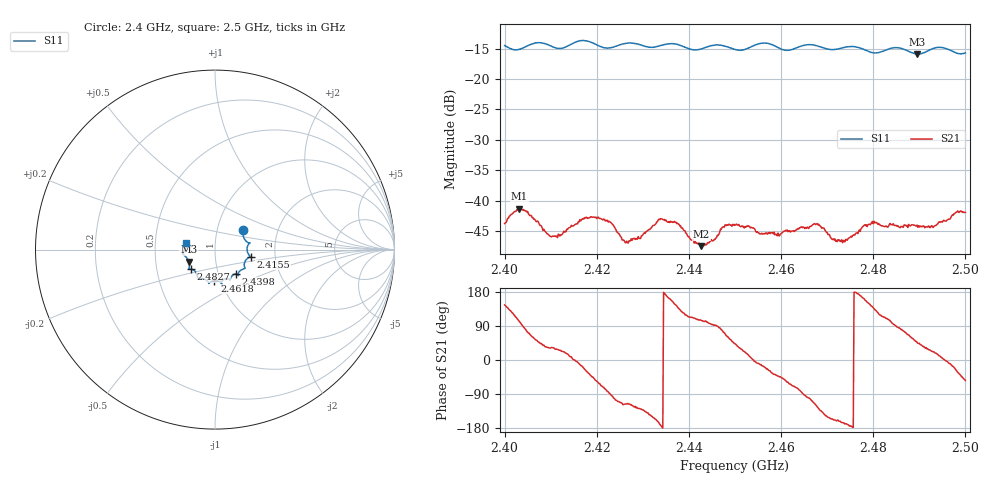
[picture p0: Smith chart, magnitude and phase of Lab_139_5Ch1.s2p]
# Hz S RI R 50
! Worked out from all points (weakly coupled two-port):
!   601 points, 2.4 GHz to 2.5 GHz, reference 50 ohm
!   highest |S21| = -41.31 dB at 2.4032 GHz (marker M1); lowest = -47.5 dB at 2.4427 GHz (marker M2)
!   lowest |S11| = -15.9 dB at 2.4895 GHz (marker M3), VSWR 1.38, Z = 37 - j5.05 ohm
!   |S11| at or under -10 dB: start of sweep to end of sweep
!   S12 and S22 are empty: the file has one direction only
!   S11 on the Smith chart (normalised r, x): 2.4 GHz: 1.33, +0.29; 2.4155 GHz: 1.49, -0.12; 2.4398 GHz: 1.21, -0.34; 2.4618 GHz: 0.94, -0.33; 2.4827 GHz: 0.75, -0.17; 2.5 GHz: 0.72, +0.06
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2.4e9  0.1553 0.1067  -0.00535 0.0037  0 0  0 0
2.403167e9  0.1663 0.0564  -0.00177 0.00841  0 0  0 0
2.410167e9  0.1844 0.0253  0.00423 0.00276  0 0  0 0
2.4155e9  0.198 -0.0396  0.00642 -0.000413  0 0  0 0
2.416667e9  0.2027 -0.043  0.00672 -0.00181  0 0  0 0
2.4225e9  0.1652 -0.0708  0.000692 -0.00665  0 0  0 0
2.4265e9  0.1679 -0.1031  -0.00204 -0.00419  0 0  0 0
2.433333e9  0.1294 -0.1337  -0.00666 -0.00202  0 0  0 0
2.437333e9  0.1308 -0.1421  -0.00522 0.00387  0 0  0 0
2.439833e9  0.1156 -0.1355  -0.00209 0.00462  0 0  0 0
2.442667e9  0.0908 -0.1516  -0.00107 0.0041  0 0  0 0
2.45e9  0.065 -0.1625  0.00463 0.00426  0 0  0 0
2.456333e9  0.0389 -0.1939  0.00512 -0.00167  0 0  0 0
2.461833e9  -0.00356 -0.1727  0.00256 -0.00508  0 0  0 0
2.466667e9  -0.035 -0.188  -0.00194 -0.00594  0 0  0 0
2.473333e9  -0.0839 -0.1597  -0.00437 -0.00115  0 0  0 0
2.48e9  -0.1097 -0.1223  -0.00479 0.00435  0 0  0 0
2.482667e9  -0.1345 -0.1084  -0.0022 0.00578  0 0  0 0
2.483333e9  -0.1395 -0.108  -0.00182 0.00596  0 0  0 0
2.4895e9  -0.1458 -0.0665  0.00434 0.0046  0 0  0 0
2.494167e9  -0.1808 -0.022  0.00648 0.00141  0 0  0 0
2.5e9  -0.1594 0.0387  0.0047 -0.00653  0 0  0 0
